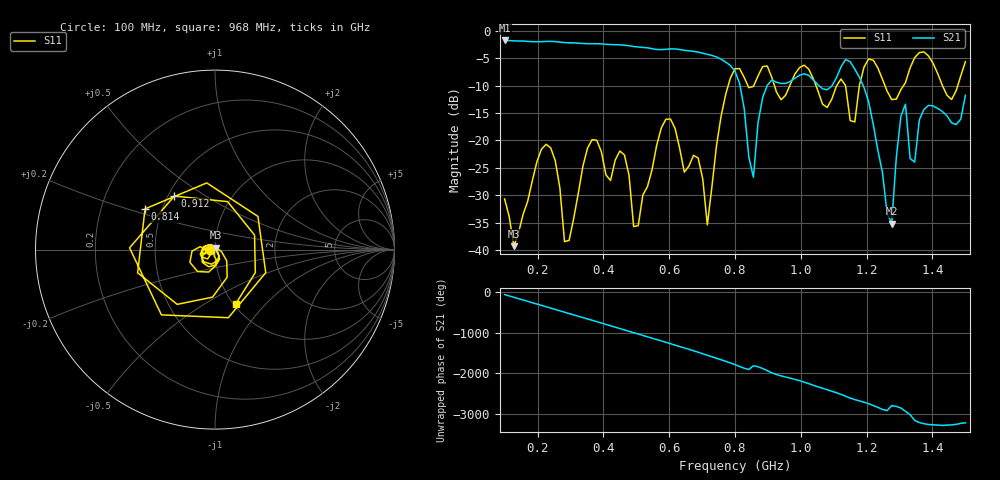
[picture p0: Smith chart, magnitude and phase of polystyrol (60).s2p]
! NanoVNA-App
! Date: 2025-09-26 09:42:21
! Start: 100MHz Stop: 1,5GHz Points: 101
! S-Parameter data: F S11 S21 S12 S22
# Hz S RI R 50
!  Frequency  S11_Real  S11_Imag  S21_Real  S21_Imag  S12_Real  S12_Imag  S22_Real  S22_Imag
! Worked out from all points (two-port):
!   101 points, 100 MHz to 1.5 GHz, reference 50 ohm
!   highest |S21| = -1.79 dB at 100 MHz (marker M1); lowest = -35.2 dB at 1.276 GHz (marker M2)
!   |S21| within 3 dB of the highest: start of sweep to 743.5 MHz
!   lowest |S11| = -39.2 dB at 128 MHz (marker M3), VSWR 1.02, Z = 50.3 + j1.06 ohm
!   |S11| at or under -10 dB: start of sweep to 779.4 MHz; 1.046 GHz to 1.109 GHz (63.27 MHz wide, 5.87 % of centre); 1.255 GHz to 1.312 GHz (56.68 MHz wide, 4.42 % of centre) (the widest 3 of 7)
!   S12 and S22 are empty: the file has one direction only
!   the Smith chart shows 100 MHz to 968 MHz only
!   S11 on the Smith chart (normalised r, x): 100 MHz: 0.94, -0.01; 814 MHz: 0.40, +0.23; 912 MHz: 0.54, +0.37; 968 MHz: 1.02, -0.69
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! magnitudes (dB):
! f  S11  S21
! 100 MHz  -30.7  -1.8
! 128 MHz  -39.2  -1.9
! 212 MHz  -21.6  -2.0
! 254 MHz  -23.7  -2.0
! 282 MHz  -38.4  -2.2
! 338 MHz  -24.7  -2.3
! 464 MHz  -22.6  -2.7
! 506 MHz  -35.5  -3.0
! 576 MHz  -17.7  -3.5
! 688 MHz  -23.2  -3.9
! 716 MHz  -35.4  -4.3
! 800 MHz  -6.9  -7.4
! 814 MHz  -6.9  -9.6
! 856 MHz  -10.2  -26.7
! 912 MHz  -8.5  -9.0
! 968 MHz  -9.8  -9.2
! 1.038 GHz  -8.8  -9.0
! 1.178 GHz  -10.0  -8.5
! 1.276 GHz  -12.5  -35.2
! 1.318 GHz  -9.5  -13.4
! 1.346 GHz  -4.9  -23.9
! 1.5 GHz  -5.7  -11.8
